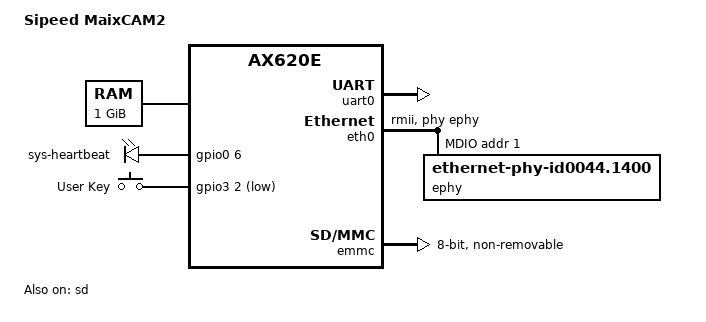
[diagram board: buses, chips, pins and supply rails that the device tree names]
// SPDX-License-Identifier: GPL-2.0-or-later
/*
 * Sipeed MaixCAM2 (AX630C): 32 GB eMMC, TF slot, internal 10/100 EPHY,
 * UART0 console. Board details from Sipeed's 4.19 SDK devicetree
 * (AX630C_emmc_arm64_k419_sipeed_maixcam2.dts); only what the 5.15
 * drivers here support is ported. Wi-Fi (AIC8800 on SDIO), display,
 * touch, audio and the media blocks are not enabled.
 *
 * Boot: no ATF. The first stage enters U-Boot at EL1 and parks CPU1 on the
 * spin-table mailbox, as on ax620e-xm-ipc.dts. U-Boot fixes up the memory
 * node from the board's DRAM size (0.5 to 4 GiB variants).
 */

/dts-v1/;

#include "ax620e.dtsi"
#include <dt-bindings/input/linux-event-codes.h>
#include <dt-bindings/phy/axera-dt-phy.h>

/delete-node/ &{/psci};

/ {
	model = "Sipeed MaixCAM2";
	compatible = "sipeed,maixcam2", "axera,ax630c", "axera,ax620e";

	aliases {
		mmc0 = &emmc;
		mmc1 = &sd;
		mmc2 = &sdio;
	};

	chosen {
		stdout-path = "serial0:115200n8";
	};

	memory@40000000 {
		device_type = "memory";
		reg = <0x0 0x40000000 0x0 0x40000000>;
	};

	reserved-memory {
		#address-cells = <2>;
		#size-cells = <2>;
		ranges;

		/* LPDDR4 retrain window, written by the first stage. */
		ddr-retrain@40000000 {
			reg = <0x0 0x40000000 0x0 0x1000>;
			no-map;
		};
	};

	/* The PSCI SYSTEM_RESET of the vendor ATF is not there either. */
	reboot {
		compatible = "syscon-reboot";
		regmap = <&common_reset>;
		offset = <0xa8>;
		mask = <0x1>;
		value = <0x1>;
		priority = <192>;
	};

	leds {
		compatible = "gpio-leds";
		pinctrl-names = "default";
		pinctrl-0 = <&led_pins>;

		led-0 {
			label = "sys-heartbeat";
			gpios = <&gpio0 6 GPIO_ACTIVE_HIGH>;
			linux,default-trigger = "activity";
		};
	};

	gpio-keys {
		compatible = "gpio-keys";
		pinctrl-names = "default";
		pinctrl-0 = <&key_pins>;

		key-user {
			label = "User Key";
			linux,code = <KEY_DISPLAYTOGGLE>;
			gpios = <&gpio3 2 GPIO_ACTIVE_LOW>;
			debounce-interval = <10>;
		};
	};

	/*
	 * The media memory allocator: ax_cmm.ko is a platform driver for this
	 * node (empty, as in the stock AX620E devicetree). Without it the
	 * module loads but never probes, and ax_base's first allocation calls
	 * a NULL allocator.
	 */
	cmm {
		compatible = "axera,cmm";
	};
};

&cpu0 {
	enable-method = "spin-table";
	cpu-release-addr = <0x0 0x023400dc>;
};

&cpu1 {
	enable-method = "spin-table";
	cpu-release-addr = <0x0 0x023400dc>;
};

&uart0 {
	status = "okay";
};

&eth0 {
	phy-mode = "rmii";
	phy-handle = <&ephy>;
	axera-ephy,led0-mode = <EPHY_LED_SPEED>;
	axera-ephy,led0-enable;
	axera-ephy,led1-mode = <EPHY_LED_LINK>;
	axera-ephy,led1-enable;
	axera-ephy,led-polarity = <EPHY_LED_LOW_ACTIVE>;
	status = "okay";

	mdio {
		compatible = "snps,dwmac-mdio";
		#address-cells = <1>;
		#size-cells = <0>;

		ephy: ethernet-phy@1 {
			compatible = "ethernet-phy-id0044.1400";
			reg = <1>;
		};
	};
};

/*
 * The SDK also sets hw-reset (GPIO2_A23) and HS400; the 5.15 Cadence
 * driver has no hw-reset property and HS200 is what ax630c.dts runs.
 */
&emmc {
	max-frequency = <200000000>;
	bus-width = <8>;
	no-sdio;
	no-sd;
	non-removable;
	disable-wp;
	cap-mmc-highspeed;
	mmc-hs200-1_8v;
	sdhci-caps-mask = <0x2 0x03200000>;
	cdns,phy-input-delay-sd-highspeed = <2>;
	cdns,phy-input-delay-legacy = <4>;
	cdns,phy-input-delay-sd-uhs-sdr12 = <1>;
	cdns,phy-input-delay-sd-uhs-sdr25 = <2>;
	cdns,phy-input-delay-sd-uhs-sdr50 = <1>;
	cdns,phy-input-delay-sd-uhs-ddr50 = <2>;
	cdns,phy-input-delay-mmc-highspeed = <2>;
	cdns,phy-input-delay-mmc-ddr = <2>;
	cdns,phy-dll-delay-sdclk = <45>;
	cdns,phy-dll-delay-sdclk-hsmmc = <31>;
	cdns,phy-dll-delay-strobe = <18>;
	fixed-emmc-driver-type = <4>;
	status = "okay";
};

/* TF slot. The card-detect pad is not wired to the controller. */
&sd {
	bus-width = <4>;
	max-frequency = <200000000>;
	sdhci-caps-mask = <0x7 0x00200000>;
	cap-sd-highspeed;
	sd-uhs-sdr12;
	sd-uhs-sdr25;
	sd-uhs-sdr50;
	sd-uhs-ddr50;
	sd-uhs-sdr104;
	no-sdio;
	no-mmc;
	disable-wp;
	broken-cd;
	cdns,phy-input-delay-sd-highspeed = <2>;
	cdns,phy-input-delay-legacy = <3>;
	cdns,phy-input-delay-sd-uhs-sdr12 = <3>;
	cdns,phy-input-delay-sd-uhs-sdr25 = <2>;
	cdns,phy-input-delay-sd-uhs-sdr50 = <1>;
	cdns,phy-input-delay-sd-uhs-ddr50 = <1>;
	cdns,phy-dll-delay-sdclk = <0>;
	status = "okay";
};

&pinctrl {
	led_pins: led-pins {
		pins = "VI_D6";
		function = "GPIO0_A6";
		drive-strength = <3>;
		input-schmitt-disable;
	};

	key_pins: key-pins {
		pins = "GPIO3_A2";
		function = "GPIO3_A2";
		drive-strength = <3>;
		input-schmitt-enable;
	};
};
